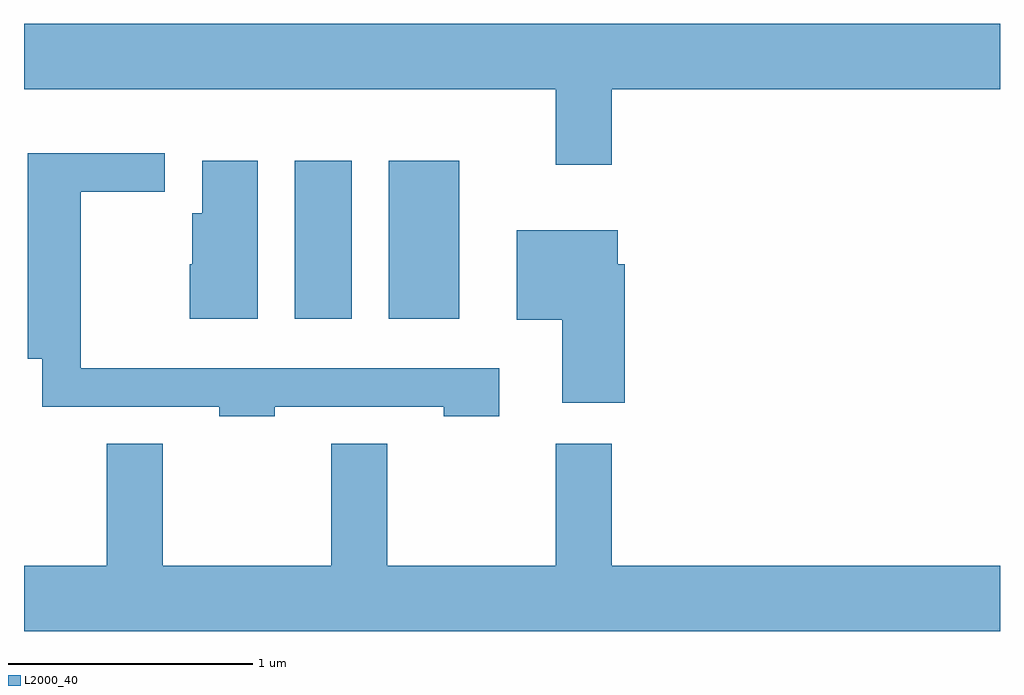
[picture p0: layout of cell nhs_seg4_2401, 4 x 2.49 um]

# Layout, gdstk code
import gdstk
lib = gdstk.Library(unit=1e-6, precision=1e-09)
def R(c, l, rs):  # rectangles x0, y0, x1, y1
    for r in rs: c.add(gdstk.rectangle(r[:2], r[2:], *l))
def P(c, l, *ps):  # polygons
    for p in ps: c.add(gdstk.Polygon(p, *l))
L2000_40 = (2000, 40)

nhs_seg4_2401 = lib.new_cell('nhs_seg4_2401')
R(nhs_seg4_2401, L2000_40, [(256.721,1298.236,256.954,1298.884), (257.106,1298.236,257.394,1298.884)])
P(nhs_seg4_2401, L2000_40, [(255.611,1299.176),(257.791,1299.176),(257.791,1298.866),(258.019,1298.866),(258.019,1299.176),(259.611,1299.176),(259.611,1299.444),(255.611,1299.444)],
  [(256.639,1297.876),(257.331,1297.876),(257.331,1297.836),(257.559,1297.836),(257.559,1298.034),(255.844,1298.034),(255.844,1298.756),(256.188,1298.756),(256.188,1298.914),(255.626,1298.914),(255.626,1298.071),(255.686,1298.071),(255.686,1297.876),(256.411,1297.876),(256.411,1297.836),(256.639,1297.836)],
  [(256.569,1298.884),(256.341,1298.884),(256.341,1298.669),(256.301,1298.669),(256.301,1298.46),(256.291,1298.46),(256.291,1298.236),(256.569,1298.236)],
  [(258.074,1298.459),(258.044,1298.459),(258.044,1298.599),(257.631,1298.599),(257.631,1298.231),(257.816,1298.231),(257.816,1297.891),(258.074,1297.891)],
  [(259.611,1297.224),(258.019,1297.224),(258.019,1297.724),(257.791,1297.724),(257.791,1297.224),(257.099,1297.224),(257.099,1297.724),(256.871,1297.724),(256.871,1297.224),(256.179,1297.224),(256.179,1297.724),(255.951,1297.724),(255.951,1297.224),(255.611,1297.224),(255.611,1296.956),(259.611,1296.956)])

lib.write_gds('nhs_seg4_2401.gds')
